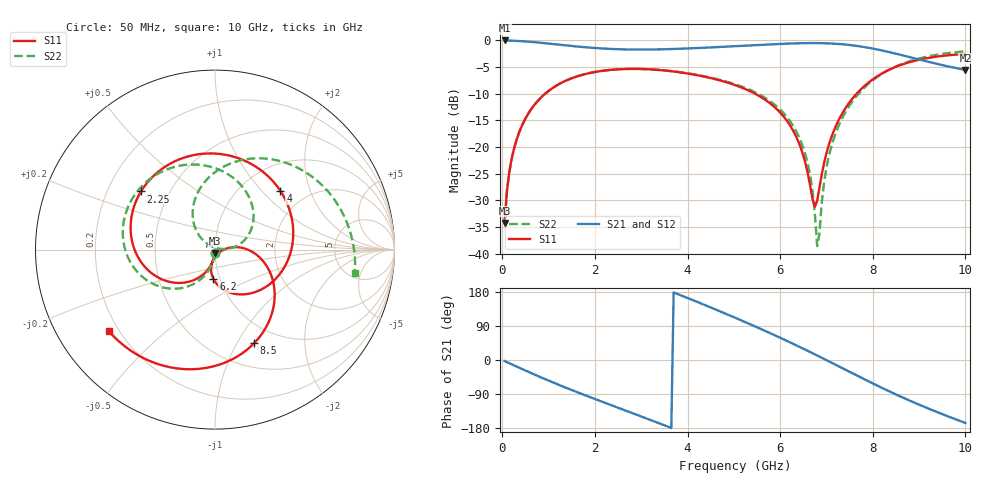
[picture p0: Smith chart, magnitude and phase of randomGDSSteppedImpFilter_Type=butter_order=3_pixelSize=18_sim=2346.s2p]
! freq	dB(S11)	phase(S11)	dB(S12)	phase(S12)
!  dB(S21)	phase(S21)	dB(S22)	phase(S22)
!S-par simulation data
#  GHz  S  DB  R 50
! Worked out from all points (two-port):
!   200 points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, 50 MHz to 10 GHz, reference 50 ohm
!   highest |S21| = 0.00 dB at 50 MHz (marker M1); lowest = -5.5 dB at 10 GHz (marker M2)
!   |S21| within 3 dB of the highest: start of sweep to 8.741 GHz
!   lowest |S11| = -34.3 dB at 50 MHz (marker M3), VSWR 1.04, Z = 49.9 - j1.92 ohm
!   |S11| at or under -10 dB: start of sweep to 926.1 MHz; 5.458 GHz to 7.651 GHz (2.192 GHz wide, 33.4 % of centre)
!   |S22| runs from -38.6 to -2.0 dB; largest |S21 - S12| = 0
!   S11 on the Smith chart (normalised r, x): 50 MHz: 1.00, -0.04; 2.25 GHz: 0.35, +0.31; 4 GHz: 1.49, +1.28; 6.2 GHz: 0.93, -0.31; 8.5 GHz: 0.77, -1.18; 10 GHz: 0.16, -0.33
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0.05  -34.28 -93.1  -0.00 -2.8  -0.00 -2.8  -34.28 -92.6
0.1  -28.28 -96.3  -0.01 -5.7  -0.01 -5.7  -28.27 -95.3
0.2  -22.32 -102.6  -0.04 -11.3  -0.04 -11.3  -22.31 -100.7
0.5  -14.67 -120.9  -0.19 -27.8  -0.19 -27.8  -14.66 -115.9
1.1  -8.85 -155.7  -0.68 -59.5  -0.68 -59.5  -8.85 -144.4
1.75  -6.40 168.6  -1.25 -91.2  -1.25 -91.2  -6.40 -172.2
2.25  -5.61 141.8  -1.56 -114.4  -1.56 -114.4  -5.61 168.3
3.4  -5.56 77.9  -1.68 -167.5  -1.68 -167.5  -5.54 126.6
4  -6.20 41.8  -1.51 163.6  -1.51 163.6  -6.16 105.5
5.05  -8.45 -24.4  -1.07 110.4  -1.07 110.4  -8.29 67.4
5.65  -10.98 -62.0  -0.80 78.2  -0.80 78.2  -10.64 43.1
6.2  -15.76 -93.3  -0.59 47.4  -0.59 47.4  -15.00 18.8
6.5  -21.61 -102.9  -0.51 29.9  -0.51 29.9  -20.18 6.2
6.7  -29.80 -76.8  -0.49 18.0  -0.49 18.0  -28.32 5.1
6.8  -30.09 -22.2  -0.50 11.9  -0.50 11.9  -38.62 50.0
7  -21.16 7.8  -0.54 -0.3  -0.54 -0.3  -23.87 143.1
7.25  -15.19 1.1  -0.65 -15.7  -0.65 -15.7  -16.29 133.9
7.8  -8.70 -28.4  -1.22 -49.7  -1.22 -49.7  -9.01 103.2
8.35  -5.52 -59.3  -2.18 -82.4  -2.18 -82.4  -5.52 71.5
8.5  -4.95 -67.4  -2.49 -90.9  -2.49 -90.9  -4.88 63.2
9.25  -3.21 -106.0  -4.11 -130.5  -4.11 -130.5  -2.89 24.3
10  -2.55 -142.3  -5.54 -166.2  -5.54 -166.2  -2.05 -9.5
